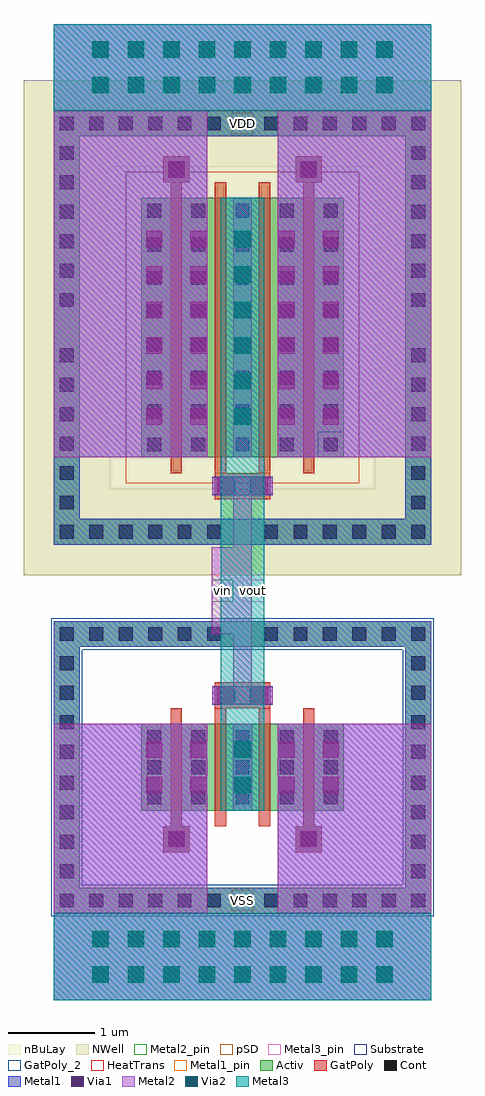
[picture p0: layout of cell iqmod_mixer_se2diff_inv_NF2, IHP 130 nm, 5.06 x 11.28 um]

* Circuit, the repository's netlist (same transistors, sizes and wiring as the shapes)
** sch_path: /foss/designs/TinyWhisper/ihp130/macros/iqmod/xschem/iqmod_mixer_se2diff_inv_NF2.sch
.subckt iqmod_mixer_se2diff_inv_NF2 nwell psub VDD vin vout VSS
*.PININFO vin:I VDD:B VSS:B vout:B nwell:B psub:B
MM1 vout vin VSS psub sg13_lv_nmos w=2.0u l=0.13u ng=2
MM2 vout vin VDD nwell sg13_lv_pmos w=6.0u l=0.13u ng=2
MMdummy1 VSS VSS VSS psub sg13_lv_nmos w=2.0u l=0.13u ng=2
MMdummy2 VDD VDD VDD nwell sg13_lv_pmos w=6.0u l=0.13u ng=2
RR1 VDD nwell ntap1 A=5.268e-12 P=3.512e-05
RR2 VSS psub ptap1 A=4.284e-12 P=2.856e-05
.ends

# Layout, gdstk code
import gdstk
lib = gdstk.Library(unit=1e-6, precision=5e-09)
def R(c, l, rs):  # rectangles x0, y0, x1, y1
    for r in rs: c.add(gdstk.rectangle(r[:2], r[2:], *l))
def A(c, l, x, y, w, h, nx, ny, dx, dy):  # array of equal rectangles
    R(c, l, [(x+i*dx, y+j*dy, x+i*dx+w, y+j*dy+h) for i in range(nx) for j in range(ny)])
def P(c, l, *ps):  # polygons
    for p in ps: c.add(gdstk.Polygon(p, *l))
Activ = (1, 0)
GatPoly = (5, 0)
GatPoly_2 = (5, 2)
Cont = (6, 0)
Metal1 = (8, 0)
Metal1_pin = (8, 2)
Metal2 = (10, 0)
Metal2_pin = (10, 2)
pSD = (14, 0)
Via1 = (19, 0)
Via2 = (29, 0)
Metal3 = (30, 0)
Metal3_pin = (30, 2)
NWell = (31, 0)
nBuLay = (32, 0)
Substrate = (40, 0)
HeatTrans = (51, 0)

nmos = lib.new_cell('nmos')
A(nmos, Activ, 0, 0, 0.3, 0.3, 5, 1, 0.51, 0)
R(nmos, Activ, [(-1.01,-0.89,-0.71,1.89), (3.05,-0.89,3.35,1.89), (0,0,2.34,1), (-1.01,1.89,3.35,2.19)])
P(nmos, Activ, [(-1.01,-1.19),(-1.01,1.89),(-0.71,1.89),(-0.71,-0.89),(3.05,-0.89),(3.05,1.89),(-1.01,1.89),(-1.01,2.19),(3.35,2.19),(3.35,-1.19)])
A(nmos, GatPoly, 0.34, -0.18, 0.13, 1.36, 4, 1, 0.51, 0)
R(nmos, GatPoly_2, [(0.34,-0.18,0.47,1.18)])
A(nmos, Cont, -0.94, -1.12, 0.16, 0.16, 6, 2, 0.34, 3.08)
A(nmos, Cont, 1.42, -1.12, 0.16, 0.16, 6, 2, 0.34, 3.08)
A(nmos, Cont, -0.94, -0.78, 0.16, 0.16, 1, 4, 0, 0.34)
A(nmos, Cont, 3.12, -0.78, 0.16, 0.16, 1, 4, 0, 0.34)
A(nmos, Cont, 0.07, 0.07, 0.16, 0.16, 5, 3, 0.51, 0.35)
A(nmos, Cont, -0.94, 0.6, 0.16, 0.16, 1, 4, 0, 0.34)
A(nmos, Cont, 3.12, 0.6, 0.16, 0.16, 1, 4, 0, 0.34)
A(nmos, Metal1, 0.07, 0, 0.16, 1, 5, 1, 0.51, 0)
R(nmos, Metal1, [(-1.01,-1.19,3.35,-0.89), (-1.01,-0.89,-0.71,1.89), (3.05,-0.89,3.35,1.89), (-1.01,1.89,3.35,2.19)])
R(nmos, Metal1_pin, [(0.07,0,0.23,1), (0.58,0,0.74,1)])
R(nmos, pSD, [(-1.04,-0.86,-0.68,1.86), (3.02,-0.86,3.38,1.86), (-1.04,1.86,3.38,2.22)])
P(nmos, pSD, [(-1.04,-1.22),(-1.04,1.86),(-0.68,1.86),(-0.68,-0.86),(3.02,-0.86),(3.02,1.86),(-1.04,1.86),(-1.04,2.22),(3.38,2.22),(3.38,-1.22)])
R(nmos, Substrate, [(-1.04,-0.86,-0.68,1.86), (3.02,-0.86,3.38,1.86), (-1.04,1.86,3.38,2.22)])
P(nmos, Substrate, [(-1.04,-1.22),(-1.04,1.86),(-0.68,1.86),(-0.68,-0.86),(3.02,-0.86),(3.02,1.86),(-1.04,1.86),(-1.04,2.22),(3.38,2.22),(3.38,-1.22)])
A(nmos, HeatTrans, 0.34, -0.18, 0.13, 1.36, 4, 1, 0.51, 0)
nmos.add(gdstk.Label('nmos', (0.405,0.5), layer=63, texttype=0))
nmos.add(gdstk.Label('sub!', (1.17,-1.04), layer=63, texttype=0))
nmos.add(gdstk.Label('nmos', (0.405,0.5), layer=51, texttype=0))
nmos.add(gdstk.Label('nmos', (0.915,0.5), layer=51, texttype=0))
nmos.add(gdstk.Label('nmos', (1.425,0.5), layer=51, texttype=0))
nmos.add(gdstk.Label('nmos', (1.935,0.5), layer=51, texttype=0))

pmos = lib.new_cell('pmos')
A(pmos, Activ, 0, 0, 0.3, 0.3, 5, 1, 0.51, 0)
R(pmos, Activ, [(-1.01,-0.71,-0.71,3.71), (3.05,-0.71,3.35,3.71), (0,0,2.34,3), (-1.01,3.71,3.35,4.01)])
P(pmos, Activ, [(-1.01,-1.01),(-1.01,3.71),(-0.71,3.71),(-0.71,-0.71),(3.05,-0.71),(3.05,3.71),(-1.01,3.71),(-1.01,4.01),(3.35,4.01),(3.35,-1.01)])
A(pmos, GatPoly, 0.34, -0.18, 0.13, 3.36, 4, 1, 0.51, 0)
R(pmos, GatPoly, [(0.34,-0.18,0.47,3.18)])
A(pmos, Cont, -0.94, -0.94, 0.16, 0.16, 6, 2, 0.34, 4.72)
A(pmos, Cont, 1.42, -0.94, 0.16, 0.16, 6, 2, 0.34, 4.72)
A(pmos, Cont, -0.94, -0.6, 0.16, 0.16, 1, 6, 0, 0.34)
A(pmos, Cont, 3.12, -0.6, 0.16, 0.16, 1, 6, 0, 0.34)
A(pmos, Cont, 0.07, 0.07, 0.16, 0.16, 5, 7, 0.51, 0.385)
A(pmos, Cont, -0.94, 1.74, 0.16, 0.16, 1, 6, 0, 0.34)
A(pmos, Cont, 3.12, 1.74, 0.16, 0.16, 1, 6, 0, 0.34)
A(pmos, Cont, 0.07, 2.77, 0.16, 0.16, 5, 1, 0.51, 0)
A(pmos, Metal1, 0.58, 0, 0.16, 3, 4, 1, 0.51, 0)
R(pmos, Metal1, [(-1.01,-1.01,3.35,-0.71), (-1.01,-0.71,-0.71,3.71), (3.05,-0.71,3.35,3.71), (0.07,0,0.23,3), (0.07,0,0.23,3), (0.58,0,0.74,3), (-1.01,3.71,3.35,4.01)])
R(pmos, pSD, [(-0.18,-0.3,2.52,3.3)])
R(pmos, NWell, [(-1.36,-1.36,3.7,4.36), (-0.31,-0.31,2.65,3.31)])
R(pmos, nBuLay, [(-1.36,-0.36,-0.36,3.36), (2.7,-0.36,3.7,3.36), (-1.36,3.36,3.7,4.36)])
P(pmos, nBuLay, [(-1.36,-1.36),(-1.36,3.36),(-0.36,3.36),(-0.36,-0.36),(2.7,-0.36),(2.7,3.36),(-1.36,3.36),(-1.36,4.36),(3.7,4.36),(3.7,-1.36)])
R(pmos, Substrate, [(2.04,0,2.34,0.3)])
A(pmos, HeatTrans, 0.34, -0.18, 0.13, 3.36, 4, 1, 0.51, 0)
pmos.add(gdstk.Label('pmos', (0.405,1.5), layer=63, texttype=0))
pmos.add(gdstk.Label('well', (1.17,-0.86), layer=63, texttype=0))
pmos.add(gdstk.Label('pmos', (0.405,1.5), layer=51, texttype=0))
pmos.add(gdstk.Label('pmos', (0.915,1.5), layer=51, texttype=0))
pmos.add(gdstk.Label('pmos', (1.425,1.5), layer=51, texttype=0))
pmos.add(gdstk.Label('pmos', (1.935,1.5), layer=51, texttype=0))

via_stack_1 = lib.new_cell('via_stack$1')
R(via_stack_1, GatPoly, [(-0.32,-0.15,0.32,0.15)])
R(via_stack_1, Cont, [(-0.25,-0.08,-0.09,0.08), (0.09,-0.08,0.25,0.08)])
R(via_stack_1, Metal1, [(-0.35,-0.105,0.35,0.105)])
R(via_stack_1, Metal2, [(-0.35,-0.1,0.35,0.1)])
R(via_stack_1, Via1, [(-0.3,-0.095,-0.11,0.095), (0.11,-0.095,0.3,0.095)])

via_stack_6 = lib.new_cell('via_stack$6')
R(via_stack_6, GatPoly, [(-0.15,-0.15,0.15,0.15)])
R(via_stack_6, Cont, [(-0.08,-0.08,0.08,0.08)])
R(via_stack_6, Metal1, [(-0.145,-0.105,0.145,0.105)])
R(via_stack_6, Metal2, [(-0.145,-0.1,0.145,0.1)])
R(via_stack_6, Via1, [(-0.095,-0.095,0.095,0.095)])

via_stack_3 = lib.new_cell('via_stack$3')
R(via_stack_3, Metal1, [(-0.105,-0.35,0.105,0.35)])
R(via_stack_3, Metal2, [(-0.1,-0.35,0.1,0.35)])
R(via_stack_3, Via1, [(-0.095,-0.3,0.095,-0.11), (-0.095,0.11,0.095,0.3)])
R(via_stack_3, Via2, [(-0.095,-0.3,0.095,-0.11), (-0.095,0.11,0.095,0.3)])
R(via_stack_3, Metal3, [(-0.1,-0.35,0.1,0.35)])

via_stack_2 = lib.new_cell('via_stack$2')
R(via_stack_2, Metal1, [(-0.105,-1.17,0.105,1.17)])
R(via_stack_2, Metal2, [(-0.1,-1.17,0.1,1.17)])
A(via_stack_2, Via1, -0.095, -1.12, 0.19, 0.19, 1, 6, 0, 0.41)
A(via_stack_2, Via2, -0.095, -1.12, 0.19, 0.19, 1, 6, 0, 0.41)
R(via_stack_2, Metal3, [(-0.1,-1.17,0.1,1.17)])

via_stack = lib.new_cell('via_stack')
R(via_stack, Metal1, [(-0.105,-1.17,0.105,1.17)])
R(via_stack, Metal2, [(-0.1,-1.17,0.1,1.17)])
A(via_stack, Via1, -0.095, -1.12, 0.19, 0.19, 1, 6, 0, 0.41)

via_stack_8 = lib.new_cell('via_stack$8')
R(via_stack_8, Metal1, [(-1.785,-0.31,1.785,0.31)])
R(via_stack_8, Metal2, [(-1.785,-0.305,1.785,0.305)])
A(via_stack_8, Via1, -1.735, -0.3, 0.19, 0.19, 9, 2, 0.41, 0.41)
A(via_stack_8, Via2, -1.735, -0.3, 0.19, 0.19, 9, 2, 0.41, 0.41)
R(via_stack_8, Metal3, [(-1.785,-0.305,1.785,0.305)])

via_stack_7 = lib.new_cell('via_stack$7')
R(via_stack_7, Metal1, [(-0.105,-0.35,0.105,0.35)])
R(via_stack_7, Metal2, [(-0.1,-0.35,0.1,0.35)])
R(via_stack_7, Via1, [(-0.095,-0.3,0.095,-0.11), (-0.095,0.11,0.095,0.3)])

iqmod_mixer_se2diff_inv_ = lib.new_cell('iqmod_mixer_se2diff_inv_NF2')
R(iqmod_mixer_se2diff_inv_, Metal1, [(0.35,0,4.71,1), (0.35,1,2.125,3.19), (2.28,1,2.78,1.3), (2.935,1,4.71,3.19), (1.615,1.71,1.915,2.01), (3.145,1.71,3.445,2.01), (2.425,2.19,2.635,3.19), (0.35,6.27,2.125,10.28), (2.425,6.27,2.635,9.27), (2.935,6.27,4.71,10.28), (1.615,9.45,1.915,9.75), (3.145,9.45,3.445,9.75), (2.28,9.98,2.78,10.28), (0.35,10.28,4.71,11.28)])
R(iqmod_mixer_se2diff_inv_, Metal1_pin, [(2.405,1.025,2.655,1.275), (2.405,10.005,2.655,10.255)])
R(iqmod_mixer_se2diff_inv_, Metal2, [(0.35,0,4.71,1), (0.35,1,2.125,3.19), (2.935,1,4.71,3.19), (1.615,1.71,1.915,2.01), (3.145,1.71,3.445,2.01), (2.425,2.19,2.635,3.19), (2.425,3.62,2.635,5.84), (2.175,4.23,2.425,5.23), (0.35,6.27,2.125,10.28), (2.425,6.27,2.635,9.27), (2.935,6.27,4.71,10.28), (1.615,9.45,1.915,9.75), (3.145,9.45,3.445,9.75), (0.35,10.28,4.71,11.28)])
R(iqmod_mixer_se2diff_inv_, Metal2_pin, [(2.175,4.605,2.425,4.855)])
R(iqmod_mixer_se2diff_inv_, Metal3, [(0.35,0,4.71,1), (2.28,2.19,2.78,9.27), (2.425,2.19,2.635,3.19), (2.28,4.23,2.78,5.23), (2.425,6.27,2.635,9.27), (0.35,10.28,4.71,11.28)])
P(iqmod_mixer_se2diff_inv_, Metal3, [(3.03,4.98),(3.03,4.98),(3.03,4.98),(3.03,4.98)])
R(iqmod_mixer_se2diff_inv_, Metal3_pin, [(2.53,4.605,2.78,4.855)])
iqmod_mixer_se2diff_inv_.add(gdstk.Reference(nmos, (1.36,2.19)))
iqmod_mixer_se2diff_inv_.add(gdstk.Reference(pmos, (1.36,6.27)))
iqmod_mixer_se2diff_inv_.add(gdstk.Reference(via_stack_1, (2.53,3.52)))
iqmod_mixer_se2diff_inv_.add(gdstk.Reference(via_stack_1, (2.53,5.94)))
iqmod_mixer_se2diff_inv_.add(gdstk.Reference(via_stack_6, (1.765,1.86)))
iqmod_mixer_se2diff_inv_.add(gdstk.Reference(via_stack_3, (2.53,2.69)))
iqmod_mixer_se2diff_inv_.add(gdstk.Reference(via_stack_6, (3.295,1.86)))
iqmod_mixer_se2diff_inv_.add(gdstk.Reference(via_stack_2, (2.53,7.77)))
iqmod_mixer_se2diff_inv_.add(gdstk.Reference(via_stack, (3.04,7.77)))
iqmod_mixer_se2diff_inv_.add(gdstk.Reference(via_stack_8, (2.53,0.5)))
iqmod_mixer_se2diff_inv_.add(gdstk.Reference(via_stack, (3.55,7.77)))
iqmod_mixer_se2diff_inv_.add(gdstk.Reference(via_stack, (2.02,7.77)))
iqmod_mixer_se2diff_inv_.add(gdstk.Reference(via_stack, (1.51,7.77)))
iqmod_mixer_se2diff_inv_.add(gdstk.Reference(via_stack_7, (3.55,2.69)))
iqmod_mixer_se2diff_inv_.add(gdstk.Reference(via_stack_7, (3.04,2.69)))
iqmod_mixer_se2diff_inv_.add(gdstk.Reference(via_stack_7, (2.02,2.69)))
iqmod_mixer_se2diff_inv_.add(gdstk.Reference(via_stack_7, (1.51,2.69)))
iqmod_mixer_se2diff_inv_.add(gdstk.Reference(via_stack_8, (2.53,10.78)))
iqmod_mixer_se2diff_inv_.add(gdstk.Reference(via_stack_6, (3.295,9.6)))
iqmod_mixer_se2diff_inv_.add(gdstk.Reference(via_stack_6, (1.765,9.6)))
iqmod_mixer_se2diff_inv_.add(gdstk.Label('vin', (2.3,4.73), layer=10, texttype=25))
iqmod_mixer_se2diff_inv_.add(gdstk.Label('VDD', (2.53,10.13), layer=8, texttype=25))
iqmod_mixer_se2diff_inv_.add(gdstk.Label('VSS', (2.53,1.15), layer=8, texttype=25))
iqmod_mixer_se2diff_inv_.add(gdstk.Label('vout', (2.655,4.73), layer=30, texttype=25))

lib.write_gds('iqmod_mixer_se2diff_inv_NF2.gds')
